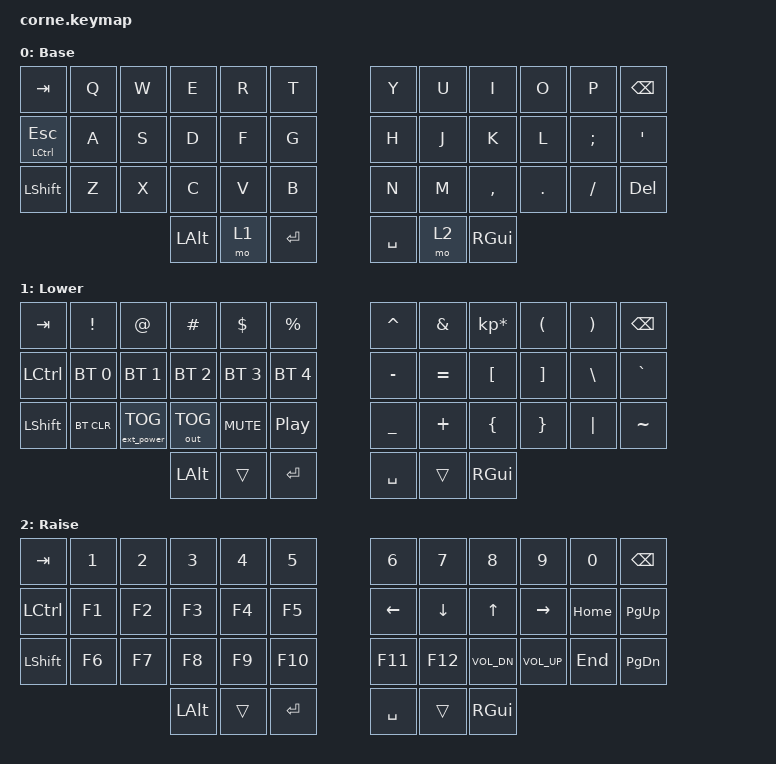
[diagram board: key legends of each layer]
/*
 * Copyright (c) 2020 The ZMK Contributors
 *
 * SPDX-License-Identifier: MIT
 */

#include <behaviors.dtsi>
#include <dt-bindings/zmk/keys.h>
#include <dt-bindings/zmk/bt.h>
#include <dt-bindings/zmk/ext_power.h>
#include <dt-bindings/zmk/outputs.h>

/ {
        keymap {
                compatible = "zmk,keymap";

                default_layer {
// -----------------------------------------------------------------------------------------
// | TAB  |  Q  |  W  |  E  |  R  |  T  |   |  Y  |  U   |  I  |  O  |  P  | BKSP |
// | CTRL |  A  |  S  |  D  |  F  |  G  |   |  H  |  J   |  K  |  L  |  ;  |  '   |
// | SHFT |  Z  |  X  |  C  |  V  |  B  |   |  N  |  M   |  ,  |  .  |  /  | DEL  |
//                    | ALT | LWR | ENT |   | SPC | RSE  | GUI |
                        display-name="Base";
                        bindings = <
   &kp TAB       &kp Q &kp W &kp E    &kp R &kp T      &kp Y     &kp U  &kp I     &kp O   &kp P    &kp BSPC
   &mt LCTRL ESC &kp A &kp S &kp D    &kp F &kp G      &kp H     &kp J  &kp K     &kp L   &kp SEMI &kp SQT
   &kp LSHFT     &kp Z &kp X &kp C    &kp V &kp B      &kp N     &kp M  &kp COMMA &kp DOT &kp FSLH &kp DEL
                             &kp LALT &mo 1 &kp RET    &kp SPACE &mo 2  &kp RGUI
                        >;
                };
                lower_layer {
// -----------------------------------------------------------------------------------------
// |  TAB |  !    |  @     |  #    |  $       |  %  |   |  ^  |  &  |  *  |  (  |  )  | BKSP |
// | CTRL | BT1   | BT2    | BT3   | BT4      | BT5 |   |  -  |  =  |  [  |  ]  |  \  |  `   |
// | SHFT | BTCLR | ExtTOG | OutTog| MUTE     | PLAY/PAUSE |   |  _  |  +  |  {  |  }  | "|" |  ~   |
//                         | ALT   |          | ENT |   | SPC |     | GUI |
                        display-name="Lower";
                        bindings = <
   &kp TAB   &kp EXCL     &kp AT            &kp HASH     &kp DLLR         &kp PRCNT    &kp CARET &kp AMPS  &kp KP_MULTIPLY &kp LPAR &kp RPAR &kp BSPC
   &kp LCTRL &bt BT_SEL 0 &bt BT_SEL 1      &bt BT_SEL 2 &bt BT_SEL 3     &bt BT_SEL 4 &kp MINUS &kp EQUAL &kp LBKT        &kp RBKT &kp BSLH &kp GRAVE
   &kp LSHFT &bt BT_CLR   &ext_power EP_TOG &out OUT_TOG &kp C_MUTE &kp C_PLAY_PAUSE      &kp UNDER &kp PLUS  &kp LBRC        &kp RBRC &kp PIPE &kp TILDE
                                            &kp LALT     &trans           &kp RET      &kp SPACE &trans    &kp RGUI
                        >;
                };

                raise_layer {
// -----------------------------------------------------------------------------------------
// |  TAB |  1  |  2  |  3  |  4  |  5  |   |  6  |  7   |  8   |  9   |  0  |   BKSP  |
// | CTRL |  F1 | F2  | F3  | F4  | F5  |   | LFT | DWN  |  UP  | RGT  | HOME| PG_UP   |
// | SHFT |  F6 | F7  | F8  | F9  | F10 |   | F11 | F12  |VOL_DN|VOL_UP| END | PG_DN   |
//                    | ALT |     | ENT |   | SPC |      | GUI  |
                        display-name="Raise";
                        bindings = <
   &kp TAB   &kp N1 &kp N2 &kp N3   &kp N4 &kp N5  &kp N6    &kp N7     &kp N8       &kp N9       &kp N0   &kp BSPC
   &kp LCTRL &kp F1 &kp F2 &kp F3   &kp F4 &kp F5  &kp LEFT  &kp DOWN   &kp UP       &kp RIGHT    &kp HOME &kp PG_UP
   &kp LSHFT &kp F6 &kp F7 &kp F8   &kp F9 &kp F10 &kp F11   &kp F12    &kp C_VOL_DN &kp C_VOL_UP &kp END  &kp PG_DN
                    	   &kp LALT &trans &kp RET &kp SPACE &trans     &kp RGUI
                        >;
                };
        };
};
